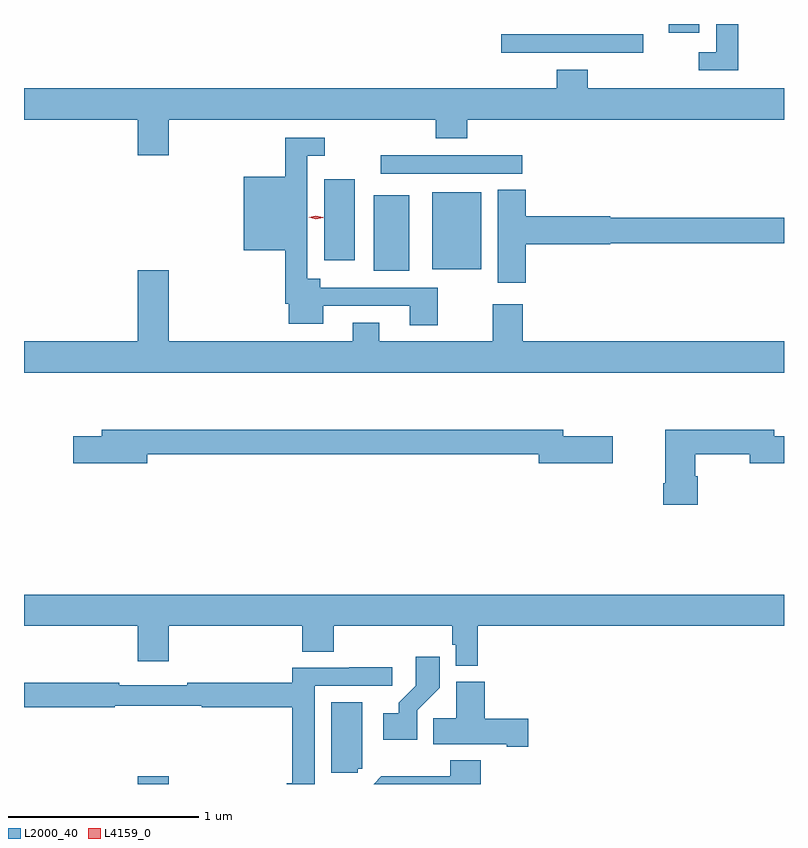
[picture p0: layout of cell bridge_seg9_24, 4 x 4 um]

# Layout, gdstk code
import gdstk
lib = gdstk.Library(unit=1e-6, precision=1e-09)
def R(c, l, rs):  # rectangles x0, y0, x1, y1
    for r in rs: c.add(gdstk.rectangle(r[:2], r[2:], *l))
def P(c, l, *ps):  # polygons
    for p in ps: c.add(gdstk.Polygon(p, *l))
L2000_40 = (2000, 40)
L4159_0 = (4159, 0)

bridge_seg9_24 = lib.new_cell('bridge_seg9_24')
R(bridge_seg9_24, L2000_40, [(956.216,1212.903,956.38,1212.943), (957.458,1215.605,957.646,1216.003), (957.767,1215.611,958.024,1216.018), (957.197,1215.66,957.358,1216.087), (957.495,1216.116,958.24,1216.212), (958.131,1216.752,958.876,1216.848), (959.012,1216.857,959.173,1216.903)])
P(bridge_seg9_24, L2000_40, [(959.378,1216.903),(959.262,1216.903),(959.262,1216.755),(959.169,1216.755),(959.169,1216.659),(959.378,1216.659)],
  [(956.38,1216.4),(957.785,1216.4),(957.785,1216.301),(957.95,1216.301),(957.95,1216.4),(959.618,1216.4),(959.618,1216.564),(958.586,1216.564),(958.586,1216.663),(958.421,1216.663),(958.421,1216.564),(955.618,1216.564),(955.618,1216.4),(956.216,1216.4),(956.216,1216.212),(956.38,1216.212)],
  [(957.795,1215.516),(957.178,1215.516),(957.178,1215.562),(957.108,1215.562),(957.108,1215.817),(957.109,1215.817),(957.109,1216.209),(957.202,1216.209),(957.202,1216.305),(956.992,1216.305),(956.992,1216.099),(956.774,1216.099),(956.774,1215.713),(956.992,1215.713),(956.992,1215.43),(957.011,1215.43),(957.011,1215.326),(957.193,1215.326),(957.193,1215.42),(957.647,1215.42),(957.647,1215.318),(957.795,1215.318)],
  [(958.259,1215.743),(958.704,1215.743),(958.704,1215.748),(959.618,1215.748),(959.618,1215.884),(958.704,1215.884),(958.704,1215.89),(958.259,1215.89),(958.259,1216.031),(958.112,1216.031),(958.112,1215.54),(958.259,1215.54)],
  [(959.618,1215.232),(958.244,1215.232),(958.244,1215.427),(958.084,1215.427),(958.084,1215.232),(957.487,1215.232),(957.487,1215.331),(957.347,1215.331),(957.347,1215.232),(956.38,1215.232),(956.38,1215.607),(956.216,1215.607),(956.216,1215.232),(955.618,1215.232),(955.618,1215.068),(959.618,1215.068)],
  [(959.165,1214.523),(959.152,1214.523),(959.152,1214.638),(959.438,1214.638),(959.438,1214.591),(959.618,1214.591),(959.618,1214.733),(959.566,1214.733),(959.566,1214.767),(958.994,1214.767),(958.994,1214.485),(958.982,1214.485),(958.982,1214.373),(959.165,1214.373)],
  [(956.266,1214.638),(958.328,1214.638),(958.328,1214.591),(958.717,1214.591),(958.717,1214.733),(958.456,1214.733),(958.456,1214.767),(956.027,1214.767),(956.027,1214.733),(955.878,1214.733),(955.878,1214.591),(956.266,1214.591)],
  [(958.007,1213.736),(959.618,1213.736),(959.618,1213.9),(955.618,1213.9),(955.618,1213.736),(956.216,1213.736),(956.216,1213.548),(956.38,1213.548),(956.38,1213.736),(957.083,1213.736),(957.083,1213.6),(957.248,1213.6),(957.248,1213.736),(957.871,1213.736),(957.871,1213.635),(957.891,1213.635),(957.891,1213.526),(958.007,1213.526)],
  [(957.687,1213.291),(957.806,1213.41),(957.806,1213.573),(957.681,1213.573),(957.681,1213.421),(957.59,1213.331),(957.59,1213.276),(957.51,1213.276),(957.51,1213.136),(957.687,1213.136)],
  [(957.147,1213.419),(957.556,1213.419),(957.556,1213.518),(957.331,1213.518),(957.331,1213.515),(957.031,1213.515),(957.031,1213.435),(956.476,1213.435),(956.476,1213.422),(956.12,1213.422),(956.12,1213.435),(955.618,1213.435),(955.618,1213.306),(956.096,1213.306),(956.096,1213.314),(956.554,1213.314),(956.554,1213.306),(957.031,1213.306),(957.031,1212.906),(957.002,1212.906),(957.002,1212.903),(957.147,1212.903)],
  [(958.273,1213.247),(958.043,1213.247),(958.043,1213.441),(957.893,1213.441),(957.893,1213.25),(957.772,1213.25),(957.772,1213.112),(958.16,1213.112),(958.16,1213.1),(958.273,1213.1)],
  [(957.375,1212.984),(957.397,1212.984),(957.397,1213.333),(957.236,1213.333),(957.236,1212.963),(957.375,1212.963)],
  [(958.022,1213.027),(957.862,1213.027),(957.862,1212.943),(957.499,1212.943),(957.459,1212.903),(958.022,1212.903)])
P(bridge_seg9_24, L4159_0, [(957.154,1215.875),(957.116,1215.885),(957.116,1215.885),(957.116,1215.886),(957.154,1215.895),(957.192,1215.885),(957.192,1215.884),(957.192,1215.884)])

lib.write_gds('bridge_seg9_24.gds')
